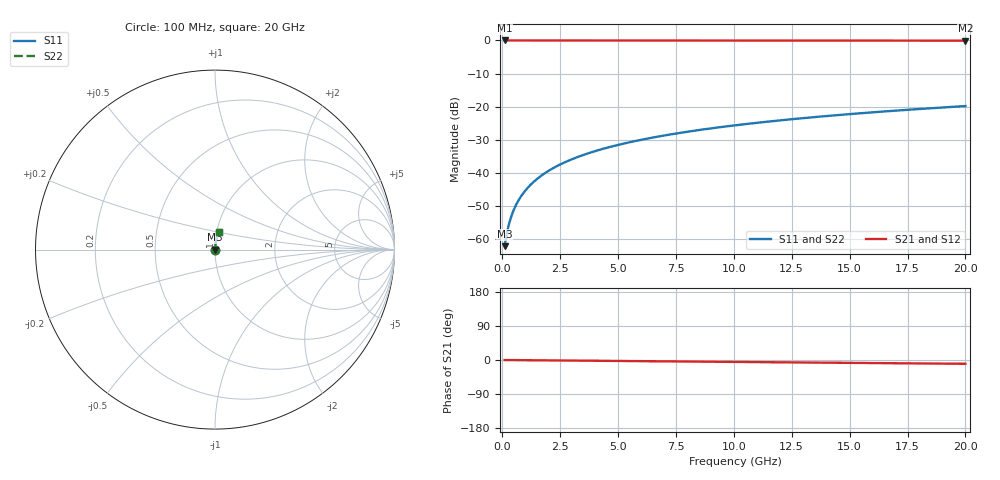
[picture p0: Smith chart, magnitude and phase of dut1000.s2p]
! Touchstone file exported from HFSS 2026.1.0
!  File:  C:/ffzhzh/LocalFiles/Ansys_Project_Files/temp_train_TSV_1000_1783188404_43440.aedt
!  Generated:  02:09:03 AM Jul  5, 2026
!  Design:  TSV
!  Project:  temp_train_TSV_1000_1783188404_43440
! Variables:
!  h_bsmrdl = 2um
!  h_ox = 20um
!  h_rdl = 5um
!  h_sub = 77.68um
!  h_tmrdl = 5um
!  h_tsv = 77.68um
!  h_via = 3um
!  l_bsmrdl = 300um
!  l_sub = 408.26um
!  l_tmrdl = 200um
!  m_sub = 200um
!  pitch = 48.27um
!  r_tsv = 4.13um
!  s_tmrdl = 10um
!  w_bsmrdl = 18um
!  w_sub = 500um
!  w_tmrdl = 12um
!  x_tsv_center1 = 206um
!  x_tsv_center2 = 524um
!  x_tsv_center3 = 736um
!  x_tsv_center4 = 1054um
!  x_tsv_center5 = 1266um
!  x_tsv_center6 = 1584um
# GHz S MA R 50.000000
! Terminal data exported
! Port[1] = TSV1_1_T1
! Port[2] = TSV1_1_T2
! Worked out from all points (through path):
!   200 points, 100 MHz to 20 GHz, reference 50 ohm
!   highest |S21| = 0.00 dB at 100 MHz (marker M1); lowest = -0.1 dB at 20 GHz (marker M2)
!   group delay of S21, straight-line fit = 1.39 ps
!   lowest |S11| = -62.2 dB at 100 MHz (marker M3), VSWR 1.00, Z = 50.1 + j0.0551 ohm
!   |S11| at or under -10 dB: start of sweep to end of sweep
!   |S22| runs from -62.2 to -19.8 dB; largest |S21 - S12| = 2.6e-15
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0.1  0.0007785 45.0  0.9994 -0.1  0.9994 -0.1  0.0007785 45.0
! Gamma 0 0 0 0
! Port Impedance 50 0 50 0
0.2  0.001233 62.9  0.9994 -0.1  0.9994 -0.1  0.001233 62.9
0.3  0.001737 70.7  0.9994 -0.2  0.9994 -0.2  0.001737 70.7
0.4  0.002256 74.8  0.9994 -0.2  0.9994 -0.2  0.002256 74.8
0.5  0.00278 77.4  0.9994 -0.3  0.9994 -0.3  0.00278 77.4
0.7  0.003833 80.4  0.9994 -0.4  0.9994 -0.4  0.003833 80.4
0.8  0.004361 81.4  0.9994 -0.4  0.9994 -0.4  0.004361 81.4
1  0.00542 82.7  0.9993 -0.5  0.9993 -0.5  0.00542 82.7
1.2  0.006481 83.6  0.9993 -0.6  0.9993 -0.6  0.006481 83.6
1.4  0.007542 84.1  0.9993 -0.7  0.9993 -0.7  0.007542 84.1
1.7  0.009133 84.7  0.9992 -0.9  0.9992 -0.9  0.009133 84.7
2  0.01072 85.0  0.9992 -1.0  0.9992 -1.0  0.01072 85.0
2.7  0.01442 85.3  0.9991 -1.4  0.9991 -1.4  0.01442 85.3
3.5  0.01861 85.3  0.9989 -1.8  0.9989 -1.8  0.01861 85.3
4.2  0.02226 85.1  0.9987 -2.2  0.9987 -2.2  0.02226 85.1
5  0.0264 84.9  0.9985 -2.6  0.9985 -2.6  0.0264 84.9
6.8  0.03564 84.3  0.998 -3.5  0.998 -3.5  0.03564 84.3
8.3  0.04328 83.7  0.9975 -4.2  0.9975 -4.2  0.04328 83.7
10.1  0.05241 83.0  0.9969 -5.1  0.9969 -5.1  0.05241 83.0
13.4  0.06905 81.6  0.9956 -6.8  0.9956 -6.8  0.06905 81.6
16.7  0.08556 80.1  0.9941 -8.4  0.9941 -8.4  0.08556 80.1
20  0.1019 78.6  0.9924 -10.0  0.9924 -10.0  0.1019 78.6
